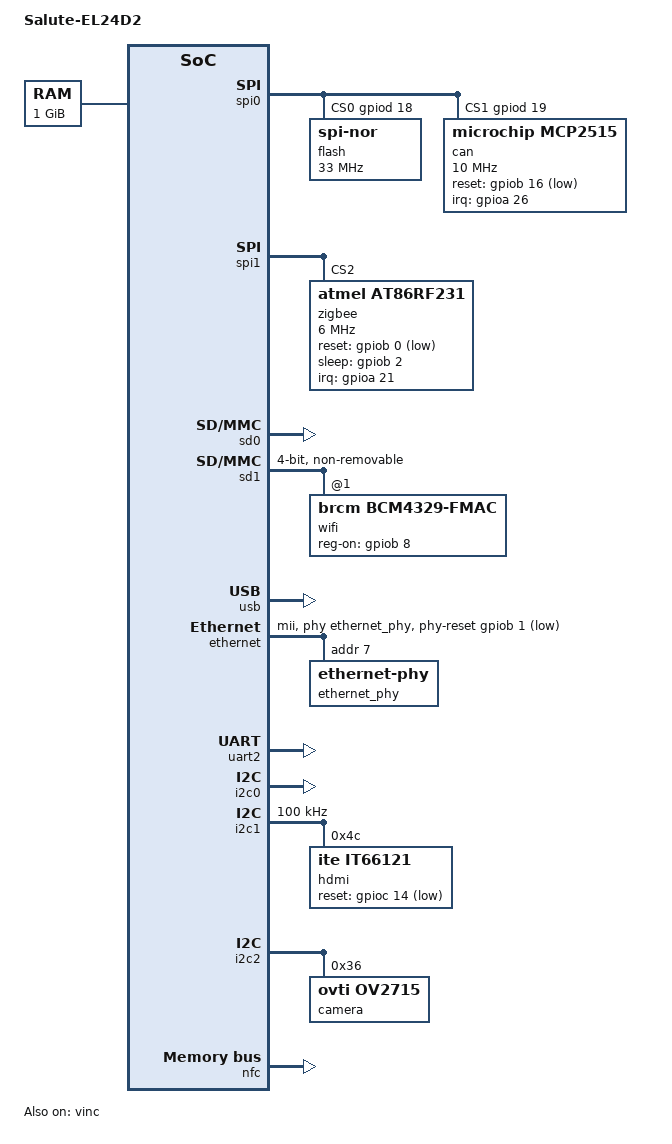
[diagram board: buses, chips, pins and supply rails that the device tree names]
/*
 * Copyright 2015-2016 ELVEES NeoTek JSC
 *
 * This program is free software; you can redistribute it and/or modify
 * it under the terms of the GNU General Public License version 2 as
 * published by the Free Software Foundation.
 */

/dts-v1/;

#include <dt-bindings/interrupt-controller/irq.h>
#include <dt-bindings/gpio/gpio.h>

#include "mcom02.dtsi"

/ {
	model = "Salute-EL24D2";
	revision = "1.1";

	chosen {
		bootargs = "console=ttyS0,115200";
	};

	aliases {
		spi0 = &spi0;
		spi1 = &spi1;
	};

	memory {
		device_type = "memory";
		reg = <0x40000000 0x40000000>;
	};

	xtican: xtican {
		compatible = "fixed-clock";
		#clock-cells = <0>;
		clock-frequency = <16000000>;
	};
};

&spi0 {
	status = "okay";
	num-cs = <2>;
	/* Third argument of "cs-gpios" property is set to 0,
	 * because it is ignored by the SPI driver. */
	cs-gpios = <&gpiod 18 0>, <&gpiod 19 0>;

	flash: flash@0 {
		#address-cells = <1>;
		#size-cells = <1>;
		compatible = "jedec,spi-nor", "spi-flash";
		reg = <0>;
		/* Max clock frequency, specified in the M25P32 Serial Flash
		 * Memory datasheet, is 33 MHz for read commands and 75 MHz
		 * for other commands. */
		spi-max-frequency = <33000000>;
		m25p,fast-read;
		u-boot,dm-pre-reloc;
	};

	can: can@1 {
		compatible = "microchip,mcp2515";
		reg = <1>;
		clocks = <&xtican>;
		interrupt-parent = <&gpioa>;
		interrupts = <26 GPIO_ACTIVE_HIGH>;
		reset-gpios = <&gpiob 16 GPIO_ACTIVE_LOW>;
		spi-max-frequency = <10000000>;
	};
};

&spi1 {
	/* Synopsys SPI has hardware Chip Select support.
	 * SPI1_nSS0 and SPI1_nSS1 are wired to X4, SPI1_nSS2
	 * is wired to Zigbee. */

	status = "okay";

	zigbee: zigbee@2 {
		compatible = "atmel,at86rf231";
		/* max-frequency for at86rf231 is 7500000, but we
		 * set it to 6000000 because controller works more stable.
		 */
		spi-max-frequency = <6000000>;
		reg = <2>;
		interrupts = <21 IRQ_TYPE_LEVEL_HIGH>;
		interrupt-parent = <&gpioa>;
		reset-gpio = <&gpiob 0 GPIO_ACTIVE_LOW>;
		sleep-gpio = <&gpiob 2 GPIO_ACTIVE_HIGH>;
	};
};

&sd0 {
	status = "okay";
};

&sd1 {
	#address-cells = <1>;
	#size-cells = <0>;
	non-removable;
	broken-cd;
	bus-width = <4>;
	max-frequency = <50000000>;
	status = "okay";

	wifi: wifi {
		reg = <1>;
		compatible = "brcm,bcm4329-fmac";
		reg-on-gpio = <&gpiob 8 GPIO_ACTIVE_HIGH>;
	};
};

&usb {
	status = "okay";
};

&vinc {
	status = "okay";
	ports {
		port@0 {
			#address-cells = <1>;
			#size-cells = <0>;
			endpoint@0 {
				reg = <0>;
				remote-endpoint = <&ov2715endpoint>;
			};
		};
	};
};

&ethernet {
	#address-cells = <1>;
	#size-cells = <0>;
	status = "okay";
	phy-mode = "mii";
	phy-handle = <&ethernet_phy>;
	phy-reset-gpios = <&gpiob 1 GPIO_ACTIVE_HIGH>;

	ethernet_phy: ethernet-phy@7 {
		reg = <7>;
	};
};

/*
 * RS-485 is used as physical layer for UART2
 */

&uart2 {
	status = "okay";
};

&i2c0 {
	/* Connected to voltage regulator */
	status = "okay";
};

&i2c1 {
	/* Connected to HDMI transmitter */
	status = "okay";
	clock-frequency = <100000>;
	hdmi: it66121@4c {
		compatible = "ite,it66121";
		reg = <0x4c>;
		reset-gpios = <&gpioc 14 GPIO_ACTIVE_LOW>;
	};
};

&i2c2 {
	/* Wired out to sensors */
	status = "okay";
	camera@36 {
		compatible = "ovti,ov2715";
		reg = <0x36>;
		port {
			ov2715endpoint: endpoint {
				remote = <&{/vinc/ports/port@0/endpoint@0}>;
			};
		};
	};
};

&framebuffer {
	status = "okay";
	output = <&hdmi>;
};

&nfc {
	status = "okay";
	partition@0 {
		reg = <0x0 0x0000000 0x1 0x00000000>;
	};
};
